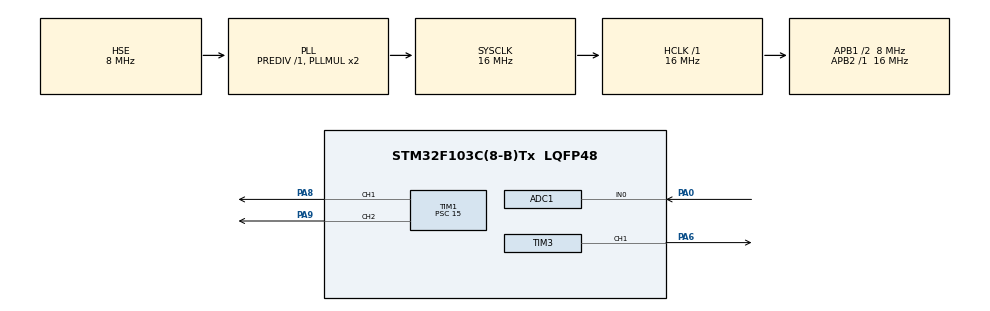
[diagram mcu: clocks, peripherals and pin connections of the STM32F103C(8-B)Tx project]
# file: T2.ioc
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ADC1.Channel-0\#ChannelRegularConversion=ADC_CHANNEL_0
ADC1.NbrOfConversionFlag=1
ADC1.Rank-0\#ChannelRegularConversion=1
ADC1.SamplingTime-0\#ChannelRegularConversion=ADC_SAMPLETIME_55CYCLES_5
ADC1.master=1
Mcu.Family=STM32F1
Mcu.Name=STM32F103C(8-B)Tx
Mcu.Package=LQFP48
NVIC.PriorityGroup=NVIC_PRIORITYGROUP_4
NVIC.RCC_IRQn=true\:0\:0\:false\:false\:true\:true\:false\:true
PA0-WKUP.Signal=ADCx_IN0
PA13.Mode=Serial_Wire
PA13.Signal=SYS_JTMS-SWDIO
PA14.Mode=Serial_Wire
PA14.Signal=SYS_JTCK-SWCLK
PA6.Signal=S_TIM3_CH1
PA8.Signal=S_TIM1_CH1
PA9.Signal=S_TIM1_CH2
PD0-OSC_IN.Mode=HSE-External-Oscillator
PD0-OSC_IN.Signal=RCC_OSC_IN
PD1-OSC_OUT.Mode=HSE-External-Oscillator
PD1-OSC_OUT.Signal=RCC_OSC_OUT
ProjectManager.HeapSize=0x200
ProjectManager.StackSize=0x400
ProjectManager.TargetToolchain=MDK-ARM V5.32
RCC.AHBFreq_Value=16000000
RCC.APB1CLKDivider=RCC_HCLK_DIV2
RCC.APB1Freq_Value=8000000
RCC.APB1TimFreq_Value=16000000
RCC.APB2Freq_Value=16000000
RCC.APB2TimFreq_Value=16000000
RCC.HCLKFreq_Value=16000000
RCC.PLLSourceVirtual=RCC_PLLSOURCE_HSE
RCC.SYSCLKFreq_VALUE=16000000
RCC.SYSCLKSource=RCC_SYSCLKSOURCE_PLLCLK
RCC.USBFreq_Value=16000000
SH.ADCx_IN0.0=ADC1_IN0,IN0
SH.S_TIM1_CH1.0=TIM1_CH1,PWM Generation1 CH1
SH.S_TIM1_CH2.0=TIM1_CH2,PWM Generation2 CH2
SH.S_TIM3_CH1.0=TIM3_CH1,PWM Generation1 CH1
TIM1.AutoReloadPreload=TIM_AUTORELOAD_PRELOAD_ENABLE
TIM1.Channel-PWM\ Generation1\ CH1=TIM_CHANNEL_1
TIM1.Channel-PWM\ Generation2\ CH2=TIM_CHANNEL_2
TIM1.Period=19999
TIM1.Prescaler=15
TIM1.Pulse-PWM\ Generation2\ CH2=1000
TIM3.AutoReloadPreload=TIM_AUTORELOAD_PRELOAD_ENABLE
TIM3.Channel-PWM\ Generation1\ CH1=TIM_CHANNEL_1
TIM3.Period=999
TIM3.Prescaler=15
VP_TIM1_VS_ClockSourceINT.Mode=Internal
VP_TIM3_VS_ClockSourceINT.Mode=Internal
board=custom

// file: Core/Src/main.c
/* USER CODE BEGIN Header */
/**
  ******************************************************************************
  * @file           : main.c
  * @brief          : Main program body
  ******************************************************************************
  * @attention
  *
  * Copyright (c) 2026 STMicroelectronics.
  * All rights reserved.
  *
  * This software is licensed under terms that can be found in the LICENSE file
  * in the root directory of this software component.
  * If no LICENSE file comes with this software, it is provided AS-IS.
  *
  ******************************************************************************
  */
/* USER CODE END Header */
#include "main.h"
#include "adc.h"
#include "tim.h"
#include "gpio.h"
#include "math.h"
/* USER CODE BEGIN Includes */
#include "stm32f1xx_hal_adc_ex.h"
/* USER CODE END Includes */

/* USER CODE BEGIN PV */
volatile uint16_t value=0;
volatile double voltage=0.0f;
/* USER CODE END PV */

void SystemClock_Config(void);

int main(void)
{

  /* MCU Configuration--------------------------------------------------------*/

  /* Reset of all peripherals, Initializes the Flash interface and the Systick. */
  HAL_Init();

  /* Configure the system clock */
  SystemClock_Config();

  /* Initialize all configured peripherals */
  MX_GPIO_Init();
  MX_TIM1_Init();
  MX_TIM3_Init();
  MX_ADC1_Init();
  /* USER CODE BEGIN 2 */
	HAL_TIM_PWM_Start(&htim1, TIM_CHANNEL_2);
	HAL_TIM_PWM_Start(&htim3, TIM_CHANNEL_1);
	__HAL_TIM_MOE_ENABLE(&htim1);
	HAL_ADCEx_Calibration_Start(&hadc1);
  /* USER CODE END 2 */

  /* Infinite loop */
  while (1)
  {

    /* USER CODE BEGIN 3 */
		double t=HAL_GetTick()*0.001;								//SHI JIAN
		double duty_led=0.5*sin(0.5*3.14*t)+0.5;		//ZHAN KONG BI
		uint16_t arr_led=__HAL_TIM_GET_AUTORELOAD(&htim3);

		uint16_t ccr_led=duty_led*arr_led;					//Breathing LED
		__HAL_TIM_SET_COMPARE(&htim3, TIM_CHANNEL_1, ccr_led);

		double duty_servo=0.075+0.05*sin(0.5*3.14*t);	//Servo
		uint16_t arr=__HAL_TIM_GET_AUTORELOAD(&htim1);
		uint16_t ccr_servo=duty_servo*arr;
		__HAL_TIM_SET_COMPARE(&htim1, TIM_CHANNEL_2, ccr_servo);

		HAL_ADC_Start(&hadc1);				//ADC
		HAL_ADC_PollForConversion(&hadc1,10);
		value=HAL_ADC_GetValue(&hadc1);
		voltage=(double)value*3.3f/4095.0f; //Calculate "V"
		HAL_ADC_Stop(&hadc1);
		HAL_Delay(10);
	}
  /* USER CODE END 3 */
}

void SystemClock_Config(void)
{
  RCC_OscInitTypeDef RCC_OscInitStruct = {0};
  RCC_ClkInitTypeDef RCC_ClkInitStruct = {0};
  RCC_PeriphCLKInitTypeDef PeriphClkInit = {0};

  /** Initializes the RCC Oscillators according to the specified parameters
  * in the RCC_OscInitTypeDef structure.
  */
  RCC_OscInitStruct.OscillatorType = RCC_OSCILLATORTYPE_HSE;
  RCC_OscInitStruct.HSEState = RCC_HSE_ON;
  RCC_OscInitStruct.HSEPredivValue = RCC_HSE_PREDIV_DIV1;
  RCC_OscInitStruct.HSIState = RCC_HSI_ON;
  RCC_OscInitStruct.PLL.PLLState = RCC_PLL_ON;
  RCC_OscInitStruct.PLL.PLLSource = RCC_PLLSOURCE_HSE;
  RCC_OscInitStruct.PLL.PLLMUL = RCC_PLL_MUL2;
  if (HAL_RCC_OscConfig(&RCC_OscInitStruct) != HAL_OK)
  {
    Error_Handler();
  }

  /** Initializes the CPU, AHB and APB buses clocks
  */
  RCC_ClkInitStruct.ClockType = RCC_CLOCKTYPE_HCLK|RCC_CLOCKTYPE_SYSCLK
                              |RCC_CLOCKTYPE_PCLK1|RCC_CLOCKTYPE_PCLK2;
  RCC_ClkInitStruct.SYSCLKSource = RCC_SYSCLKSOURCE_PLLCLK;
  RCC_ClkInitStruct.AHBCLKDivider = RCC_SYSCLK_DIV1;
  RCC_ClkInitStruct.APB1CLKDivider = RCC_HCLK_DIV2;
  RCC_ClkInitStruct.APB2CLKDivider = RCC_HCLK_DIV1;

  if (HAL_RCC_ClockConfig(&RCC_ClkInitStruct, FLASH_LATENCY_0) != HAL_OK)
  {
    Error_Handler();
  }
  PeriphClkInit.PeriphClockSelection = RCC_PERIPHCLK_ADC;
  PeriphClkInit.AdcClockSelection = RCC_ADCPCLK2_DIV2;
  if (HAL_RCCEx_PeriphCLKConfig(&PeriphClkInit) != HAL_OK)
  {
    Error_Handler();
  }
}

void Error_Handler(void)
{
  __disable_irq();
  while (1)
  {
  }
}
